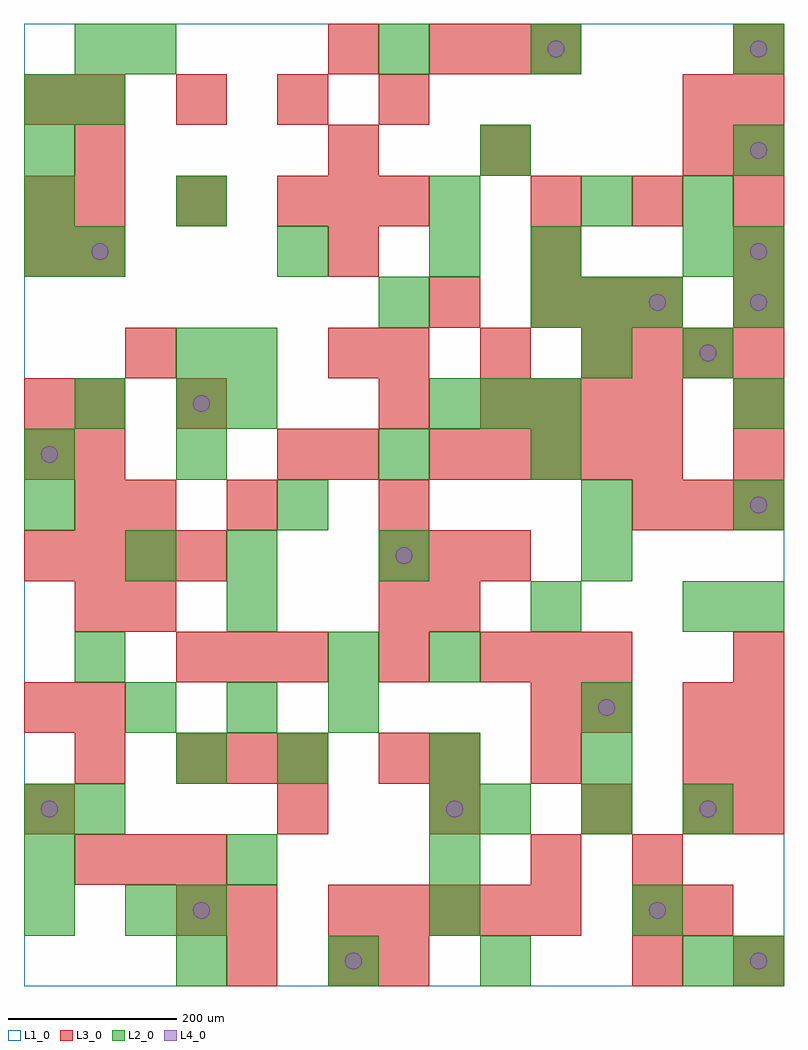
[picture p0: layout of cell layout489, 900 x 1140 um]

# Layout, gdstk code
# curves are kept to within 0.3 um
import gdstk
lib = gdstk.Library(unit=1e-6, precision=1e-09)
def R(c, l, rs):  # rectangles x0, y0, x1, y1
    for r in rs: c.add(gdstk.rectangle(r[:2], r[2:], *l))
def A(c, l, x, y, w, h, nx, ny, dx, dy):  # array of equal rectangles
    R(c, l, [(x+i*dx, y+j*dy, x+i*dx+w, y+j*dy+h) for i in range(nx) for j in range(ny)])
def P(c, l, *ps):  # polygons
    for p in ps: c.add(gdstk.Polygon(p, *l))
L1_0 = (1, 0)
L2_0 = (2, 0)
L3_0 = (3, 0)
L4_0 = (4, 0)

layout489 = lib.new_cell('layout489')
R(layout489, L1_0, [(0,0,900,1140)])
A(layout489, L2_0, 180, 0, 60, 60, 3, 1, 180, 0)
A(layout489, L2_0, 0, 120, 60, 60, 3, 1, 240, 0)
A(layout489, L2_0, 540, 180, 60, 60, 3, 1, 120, 0)
A(layout489, L2_0, 300, 240, 60, 60, 3, 1, 180, 0)
A(layout489, L2_0, 120, 300, 60, 60, 3, 1, 120, 0)
A(layout489, L2_0, 840, 420, 60, 60, 1, 4, 0, 120)
A(layout489, L2_0, 660, 540, 60, 60, 1, 3, 0, 180)
A(layout489, L2_0, 180, 600, 60, 60, 1, 3, 0, 60)
A(layout489, L2_0, 600, 600, 60, 60, 1, 3, 0, 240)
A(layout489, L2_0, 60, 660, 60, 60, 1, 3, 0, 180)
A(layout489, L2_0, 480, 660, 60, 60, 3, 1, 60, 0)
A(layout489, L2_0, 600, 780, 60, 60, 3, 1, 60, 0)
A(layout489, L2_0, 0, 840, 60, 60, 1, 4, 0, 60)
A(layout489, L2_0, 840, 840, 60, 60, 1, 3, 0, 120)
R(layout489, L2_0, [(780,0,840,60), (840,0,900,60), (0,60,60,120), (120,60,180,120), (180,60,240,120), (480,60,540,120), (720,60,780,120), (0,180,60,240), (60,180,120,240), (480,180,540,240), (180,240,240,300), (660,300,720,360), (60,360,120,420), (360,360,420,420), (480,360,540,420), (240,420,300,480), (600,420,660,480), (780,420,840,480), (120,480,180,540), (240,480,300,540), (420,480,480,540), (660,480,720,540), (0,540,60,600), (300,540,360,600), (0,600,60,660), (420,600,480,660), (240,660,300,720), (240,720,300,780), (780,720,840,780), (420,780,480,840), (300,840,360,900), (480,840,540,900), (780,840,840,900), (180,900,240,960), (480,900,540,960), (780,900,840,960), (540,960,600,1020), (60,1080,120,1140), (120,1080,180,1140), (420,1080,480,1140)])
A(layout489, L3_0, 720, 0, 60, 60, 1, 3, 0, 60)
A(layout489, L3_0, 360, 60, 60, 60, 5, 1, 60, 0)
A(layout489, L3_0, 60, 120, 60, 60, 3, 1, 60, 0)
A(layout489, L3_0, 300, 180, 60, 60, 3, 1, 180, 0)
A(layout489, L3_0, 780, 180, 60, 60, 1, 3, 0, 60)
A(layout489, L3_0, 840, 180, 60, 60, 1, 4, 0, 60)
A(layout489, L3_0, 180, 240, 60, 60, 3, 2, 60, 120)
A(layout489, L3_0, 60, 300, 60, 60, 1, 3, 0, 120)
A(layout489, L3_0, 540, 360, 60, 60, 3, 1, 60, 0)
A(layout489, L3_0, 420, 420, 60, 60, 1, 3, 0, 120)
A(layout489, L3_0, 0, 480, 60, 60, 4, 1, 60, 0)
A(layout489, L3_0, 420, 480, 60, 60, 3, 1, 60, 0)
A(layout489, L3_0, 720, 540, 60, 60, 3, 2, 60, 180)
A(layout489, L3_0, 480, 600, 60, 60, 5, 1, 60, 0)
A(layout489, L3_0, 540, 660, 60, 60, 4, 1, 60, 0)
A(layout489, L3_0, 420, 720, 60, 60, 3, 1, 120, 0)
A(layout489, L3_0, 600, 780, 60, 60, 3, 1, 60, 0)
A(layout489, L3_0, 360, 840, 60, 60, 3, 1, 240, 0)
A(layout489, L3_0, 60, 900, 60, 60, 3, 1, 120, 0)
A(layout489, L3_0, 600, 900, 60, 60, 3, 1, 120, 0)
A(layout489, L3_0, 840, 960, 60, 60, 1, 3, 0, 60)
A(layout489, L3_0, 60, 1020, 60, 60, 4, 1, 120, 0)
A(layout489, L3_0, 480, 1080, 60, 60, 3, 1, 60, 0)
R(layout489, L3_0, [(240,0,300,60), (360,0,420,60), (420,0,480,60), (840,0,900,60), (180,60,240,120), (240,60,300,120), (780,60,840,120), (600,120,660,180), (0,180,60,240), (60,240,120,300), (420,240,480,300), (480,240,540,300), (600,240,660,300), (0,300,60,360), (600,300,660,360), (660,300,720,360), (420,360,480,420), (120,420,180,480), (480,420,540,480), (120,540,180,600), (240,540,300,600), (0,600,60,660), (60,600,120,660), (300,600,360,660), (360,600,420,660), (840,600,900,660), (0,660,60,720), (60,660,120,720), (180,660,240,720), (840,660,900,720), (120,720,180,780), (360,720,420,780), (480,780,540,840), (840,780,900,840), (0,840,60,900), (60,840,120,900), (0,900,60,960), (360,900,420,960), (420,900,480,960), (60,960,120,1020), (360,960,420,1020), (540,960,600,1020), (780,960,840,1020), (0,1020,60,1080), (780,1020,840,1080), (360,1080,420,1140)])
P(layout489, L4_0, [(40,210),(39.239,213.827),(37.071,217.071),(33.827,219.239),(30,220),(26.173,219.239),(22.929,217.071),(20.761,213.827),(20,210),(20.761,206.173),(22.929,202.929),(26.173,200.761),(30,200),(33.827,200.761),(37.071,202.929),(39.239,206.173)],
  [(40,630),(39.239,633.827),(37.071,637.071),(33.827,639.239),(30,640),(26.173,639.239),(22.929,637.071),(20.761,633.827),(20,630),(20.761,626.173),(22.929,622.929),(26.173,620.761),(30,620),(33.827,620.761),(37.071,622.929),(39.239,626.173)],
  [(100,870),(99.239,873.827),(97.071,877.071),(93.827,879.239),(90,880),(86.173,879.239),(82.929,877.071),(80.761,873.827),(80,870),(80.761,866.173),(82.929,862.929),(86.173,860.761),(90,860),(93.827,860.761),(97.071,862.929),(99.239,866.173)],
  [(220,90),(219.239,93.827),(217.071,97.071),(213.827,99.239),(210,100),(206.173,99.239),(202.929,97.071),(200.761,93.827),(200,90),(200.761,86.173),(202.929,82.929),(206.173,80.761),(210,80),(213.827,80.761),(217.071,82.929),(219.239,86.173)],
  [(220,690),(219.239,693.827),(217.071,697.071),(213.827,699.239),(210,700),(206.173,699.239),(202.929,697.071),(200.761,693.827),(200,690),(200.761,686.173),(202.929,682.929),(206.173,680.761),(210,680),(213.827,680.761),(217.071,682.929),(219.239,686.173)],
  [(400,30),(399.239,33.827),(397.071,37.071),(393.827,39.239),(390,40),(386.173,39.239),(382.929,37.071),(380.761,33.827),(380,30),(380.761,26.173),(382.929,22.929),(386.173,20.761),(390,20),(393.827,20.761),(397.071,22.929),(399.239,26.173)],
  [(460,510),(459.239,513.827),(457.071,517.071),(453.827,519.239),(450,520),(446.173,519.239),(442.929,517.071),(440.761,513.827),(440,510),(440.761,506.173),(442.929,502.929),(446.173,500.761),(450,500),(453.827,500.761),(457.071,502.929),(459.239,506.173)],
  [(520,210),(519.239,213.827),(517.071,217.071),(513.827,219.239),(510,220),(506.173,219.239),(502.929,217.071),(500.761,213.827),(500,210),(500.761,206.173),(502.929,202.929),(506.173,200.761),(510,200),(513.827,200.761),(517.071,202.929),(519.239,206.173)],
  [(640,1110),(639.239,1113.827),(637.071,1117.071),(633.827,1119.239),(630,1120),(626.173,1119.239),(622.929,1117.071),(620.761,1113.827),(620,1110),(620.761,1106.173),(622.929,1102.929),(626.173,1100.761),(630,1100),(633.827,1100.761),(637.071,1102.929),(639.239,1106.173)],
  [(700,330),(699.239,333.827),(697.071,337.071),(693.827,339.239),(690,340),(686.173,339.239),(682.929,337.071),(680.761,333.827),(680,330),(680.761,326.173),(682.929,322.929),(686.173,320.761),(690,320),(693.827,320.761),(697.071,322.929),(699.239,326.173)],
  [(760,90),(759.239,93.827),(757.071,97.071),(753.827,99.239),(750,100),(746.173,99.239),(742.929,97.071),(740.761,93.827),(740,90),(740.761,86.173),(742.929,82.929),(746.173,80.761),(750,80),(753.827,80.761),(757.071,82.929),(759.239,86.173)],
  [(760,810),(759.239,813.827),(757.071,817.071),(753.827,819.239),(750,820),(746.173,819.239),(742.929,817.071),(740.761,813.827),(740,810),(740.761,806.173),(742.929,802.929),(746.173,800.761),(750,800),(753.827,800.761),(757.071,802.929),(759.239,806.173)],
  [(820,210),(819.239,213.827),(817.071,217.071),(813.827,219.239),(810,220),(806.173,219.239),(802.929,217.071),(800.761,213.827),(800,210),(800.761,206.173),(802.929,202.929),(806.173,200.761),(810,200),(813.827,200.761),(817.071,202.929),(819.239,206.173)],
  [(820,750),(819.239,753.827),(817.071,757.071),(813.827,759.239),(810,760),(806.173,759.239),(802.929,757.071),(800.761,753.827),(800,750),(800.761,746.173),(802.929,742.929),(806.173,740.761),(810,740),(813.827,740.761),(817.071,742.929),(819.239,746.173)],
  [(880,30),(879.239,33.827),(877.071,37.071),(873.827,39.239),(870,40),(866.173,39.239),(862.929,37.071),(860.761,33.827),(860,30),(860.761,26.173),(862.929,22.929),(866.173,20.761),(870,20),(873.827,20.761),(877.071,22.929),(879.239,26.173)],
  [(880,570),(879.239,573.827),(877.071,577.071),(873.827,579.239),(870,580),(866.173,579.239),(862.929,577.071),(860.761,573.827),(860,570),(860.761,566.173),(862.929,562.929),(866.173,560.761),(870,560),(873.827,560.761),(877.071,562.929),(879.239,566.173)],
  [(880,810),(879.239,813.827),(877.071,817.071),(873.827,819.239),(870,820),(866.173,819.239),(862.929,817.071),(860.761,813.827),(860,810),(860.761,806.173),(862.929,802.929),(866.173,800.761),(870,800),(873.827,800.761),(877.071,802.929),(879.239,806.173)],
  [(880,870),(879.239,873.827),(877.071,877.071),(873.827,879.239),(870,880),(866.173,879.239),(862.929,877.071),(860.761,873.827),(860,870),(860.761,866.173),(862.929,862.929),(866.173,860.761),(870,860),(873.827,860.761),(877.071,862.929),(879.239,866.173)],
  [(880,990),(879.239,993.827),(877.071,997.071),(873.827,999.239),(870,1000),(866.173,999.239),(862.929,997.071),(860.761,993.827),(860,990),(860.761,986.173),(862.929,982.929),(866.173,980.761),(870,980),(873.827,980.761),(877.071,982.929),(879.239,986.173)],
  [(880,1110),(879.239,1113.827),(877.071,1117.071),(873.827,1119.239),(870,1120),(866.173,1119.239),(862.929,1117.071),(860.761,1113.827),(860,1110),(860.761,1106.173),(862.929,1102.929),(866.173,1100.761),(870,1100),(873.827,1100.761),(877.071,1102.929),(879.239,1106.173)])

lib.write_gds('layout489.gds')
